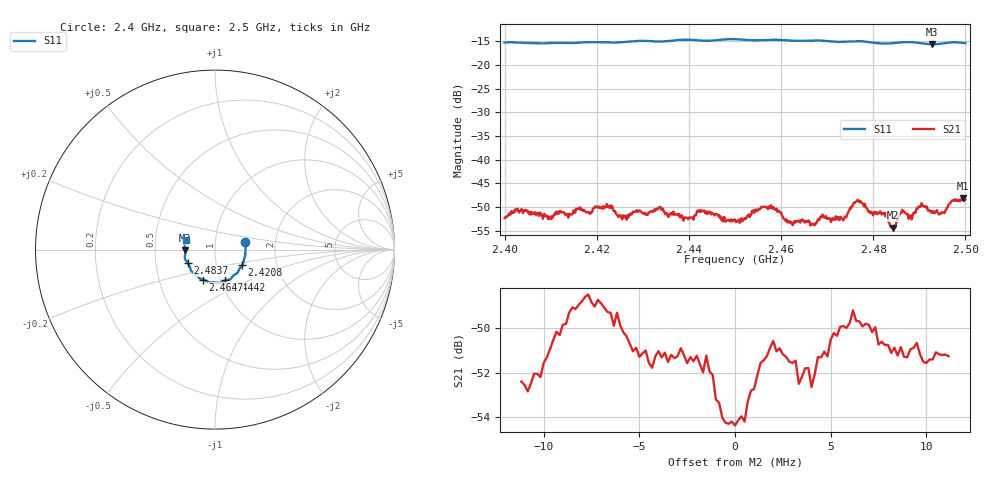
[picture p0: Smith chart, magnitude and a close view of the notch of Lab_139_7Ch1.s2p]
# Hz S RI R 50
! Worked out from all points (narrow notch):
!   601 points, 2.4 GHz to 2.5 GHz, reference 50 ohm
!   highest |S21| = -48.08 dB at 2.4995 GHz (marker M1); lowest = -54.4 dB at 2.4843 GHz (marker M2)
!   notch at M2: 3.1 dB deep, 1.88 MHz wide at half that depth
!   lowest |S11| = -15.6 dB at 2.4928 GHz (marker M3), VSWR 1.40, Z = 35.8 - j0.33 ohm
!   |S11| at or under -10 dB: start of sweep to end of sweep
!   S12 and S22 are empty: the file has one direction only
!   S11 on the Smith chart (normalised r, x): 2.4 GHz: 1.40, +0.12; 2.4208 GHz: 1.33, -0.24; 2.4442 GHz: 1.05, -0.37; 2.4647 GHz: 0.83, -0.29; 2.4837 GHz: 0.73, -0.11; 2.5 GHz: 0.72, +0.08
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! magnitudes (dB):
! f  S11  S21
! 2.4 GHz  -15.3  -52.3
! 2.4167 GHz  -15.2  -50.4
! 2.4208 GHz  -15.2  -50.1
! 2.426 GHz  -15.1  -52.0
! 2.4333 GHz  -15.0  -50.3
! 2.4392 GHz  -14.6  -52.2
! 2.4442 GHz  -14.9  -51.4
! 2.45 GHz  -14.5  -52.7
! 2.4562 GHz  -14.8  -50.0
! 2.4647 GHz  -14.9  -52.6
! 2.4667 GHz  -14.8  -53.6
! 2.4737 GHz  -15.1  -52.5
! 2.4768 GHz  -15.0  -48.9
! 2.4833 GHz  -15.5  -53.2
! 2.4837 GHz  -15.4  -54.0
! 2.4843 GHz  -15.4  -54.4
! 2.4862 GHz  -15.2  -50.9
! 2.4882 GHz  -15.2  -51.8
! 2.4908 GHz  -15.4  -49.7
! 2.4928 GHz  -15.6  -51.2
! 2.4995 GHz  -15.3  -48.1
! 2.5 GHz  -15.4  -48.5
